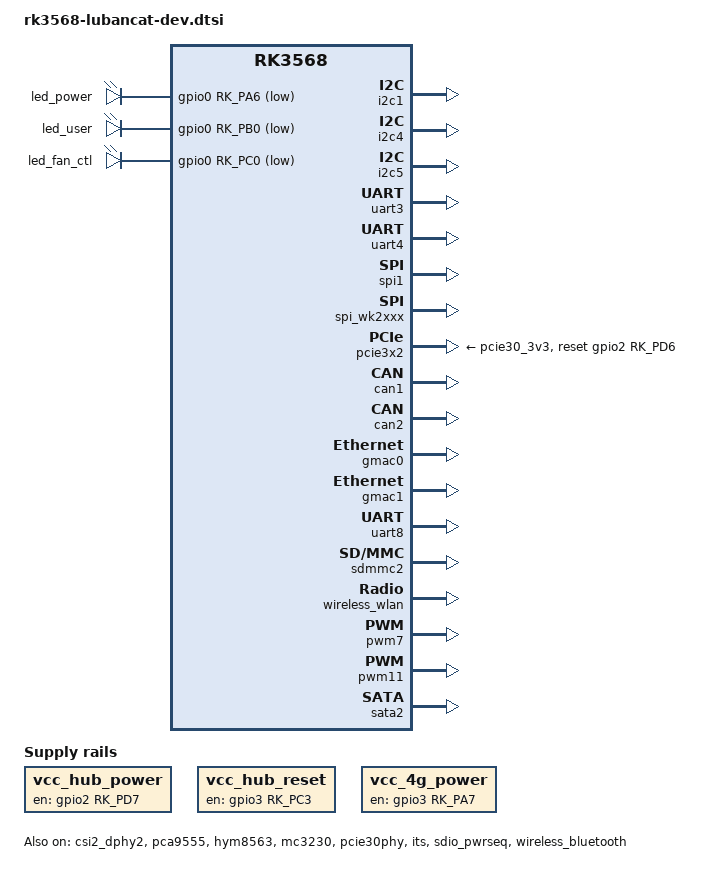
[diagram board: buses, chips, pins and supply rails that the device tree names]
// SPDX-License-Identifier: (GPL-2.0+ OR MIT)
/*
 * Copyright (c) 2020 Rockchip Electronics Co., Ltd.
 *
 */

#include "rk3568-lubancat-port.dtsi"

/ {

	vcc_hub_power: vcc-hub-power-regulator {
		compatible = "regulator-fixed";
		enable-active-high;
		gpio = <&gpio2 RK_PD7 GPIO_ACTIVE_HIGH>;
		pinctrl-names = "default";
		pinctrl-0 = <&vcc_hub_power_en>;
		regulator-name = "vcc_hub_power_en";
		regulator-always-on;
	};

	vcc_hub_reset: vcc-hub-reset-regulator {
		compatible = "regulator-fixed";
		enable-active-high;
		gpio = <&gpio3 RK_PC3 GPIO_ACTIVE_HIGH>;
		pinctrl-names = "default";
		pinctrl-0 = <&vcc_hub_reset_en>;
		regulator-name = "vcc_hub_reset_en";
		regulator-always-on;
	};

    // pcie_pi6c_oe: pcie-pi6c-oe-regulator {
	// 	compatible = "regulator-fixed";
	// 	//enable-active-high;
	// 	gpio = <&gpio0 RK_PD4 GPIO_ACTIVE_LOW>;
	// 	pinctrl-names = "default";
	// 	pinctrl-0 = <&pcie_pi6c_oe_en>;
	// 	regulator-name = "pcie_pi6c_oe_en";
	// 	regulator-always-on;
	// };

    vcc_4g_power: vcc-4g-power-regulator {
        compatible = "regulator-fixed";
        enable-active-high;
        gpio = <&gpio3 RK_PA7 GPIO_ACTIVE_HIGH>;
        pinctrl-names = "default";
        pinctrl-0 = <&vcc_4g_power_en>;
        regulator-name = "vcc_4g_power_en";
        regulator-always-on;
    };

	leds: leds {
		status = "okay";
		compatible = "gpio-leds";

		power_led: power {
			label = "led_power";
			linux,default-trigger = "ir-power-click";
			default-state = "on";
			gpios = <&gpio0 RK_PA6 GPIO_ACTIVE_LOW>;
			pinctrl-names = "default";
			pinctrl-0 = <&led2_power>;
		};

		user_led: user {
			label = "led_user";
			linux,default-trigger = "ir-user-click";
			default-state = "on";
			gpios = <&gpio0 RK_PB0 GPIO_ACTIVE_LOW>;
			pinctrl-names = "default";
			pinctrl-0 = <&led1_power>;
		};

		fan_ctl: fan-ctl {
			label = "led_fan_ctl";
			linux,default-trigger = "ir-user-click";
			default-state = "on";
			gpios = <&gpio0 RK_PC0 GPIO_ACTIVE_LOW>;
			pinctrl-names = "default";
			pinctrl-0 = <&led0_power>;
		};
	};
};

&csi2_dphy0 {
	status = "disabled";
};

&csi2_dphy1 {
	status = "disabled";
	/*
	* dphy1 only used for split mode,
	* can be used  concurrently  with dphy2
	* full mode and split mode are mutually exclusive
	*/
};

&csi2_dphy2 {
	status = "okay";
	/*
	* dphy2 only used for split mode,
	* can be used  concurrently  with dphy1
	* full mode and split mode are mutually exclusive
	*/
};

&rkisp_vir0 {
	status = "disabled";
};

&rkisp_vir1 {
	status = "disabled";
};

&i2c1 {
    status = "okay";
};

&i2c4 {
	status = "okay";
};

&pca9555 {
    status = "okay";
};

&i2c5 {
    status = "okay";
};

&hym8563 {
    status = "okay";
};

&mc3230 {
    status = "okay";
};

&uart3 {
	status = "okay";
};

&uart4 {
    status = "okay";
};

&spi1 {
	status = "okay";
};

&spi_wk2xxx {
	status = "okay";
};

&pcie30phy {
       status = "okay";
};

&pcie3x2 {
        reset-gpios = <&gpio2 RK_PD6 GPIO_ACTIVE_HIGH>;
        vpcie3v3-supply = <&pcie30_3v3>;

       status = "okay";
};

&its {
    status = "okay";
};

&can1 {
    status = "okay";
};

&can2 {
    status = "okay";
};

&gmac0 {
    status = "okay";
};

&gmac1 {
    status = "okay";
};

&rgmii_phy0 {
	led_status_value = <0x6940>;
};

&rgmii_phy1 {
	led_status_value = <0x6940>;
};

&uart8 {
	status = "okay";
};

&sdio_pwrseq {
	status = "okay";
	reset-gpios = <&gpio3 RK_PD5 GPIO_ACTIVE_LOW>;
	post-power-on-delay-ms = <100>;
};

&sdmmc2 {
	status = "okay";
	max-frequency = <100000000>;
};

&wireless_wlan {
	wifi_chip_type = "rtl8822cs";
	status = "okay";
};

&wireless_bluetooth {
	BT,wake_gpio     = <&gpio3 RK_PA2 GPIO_ACTIVE_HIGH>;
	BT,wake_host_irq = <&gpio3 RK_PA1 GPIO_ACTIVE_HIGH>;
	status = "okay";
};

&spdif_8ch{
    status = "disabled";
};

&rk809_codec {
    hp-ctl-gpios = <&gpio1 RK_PB0 GPIO_ACTIVE_HIGH>;
};

&rk809 {
    rtc {
        status = "disabled";
    };
};

&pwm7 {
	status = "okay";
};

&pwm11 {
	status = "okay";
	pinctrl-0 = <&pwm11m1_pins>;
};

&sata2 {
	status = "okay";
};

&pinctrl {

	usb {
		vcc_hub_power_en: vcc-hub-power-en {
			rockchip,pins =	<2 RK_PD7 RK_FUNC_GPIO &pcfg_pull_none>;
		};

		vcc_hub_reset_en: vcc-hub-reset-en {
			rockchip,pins = <3 RK_PC3 RK_FUNC_GPIO &pcfg_pull_none>;
		};
	};

    // pcie {
    //     pcie_pi6c_oe_en: pcie-pi6c-oe-en {
	// 		rockchip,pins = <0 RK_PD4 RK_FUNC_GPIO &pcfg_pull_none>;
	// 	};
    // };

	4g {
	    vcc_4g_power_en: vcc-4g-power-en {
	        rockchip,pins = <3 RK_PA7 RK_FUNC_GPIO &pcfg_pull_none>;
	    };
	};

	leds {
	    led0_power: led0-power {
	        rockchip,pins = <0 RK_PC0 RK_FUNC_GPIO &pcfg_pull_none>;
	    };

	    led1_power: led1-power {
	        rockchip,pins = <0 RK_PB0 RK_FUNC_GPIO &pcfg_pull_none>;
	    };

	    led2_power: led2-power {
	        rockchip,pins = <0 RK_PA6 RK_FUNC_GPIO &pcfg_pull_none>;
	    };
	};
};
